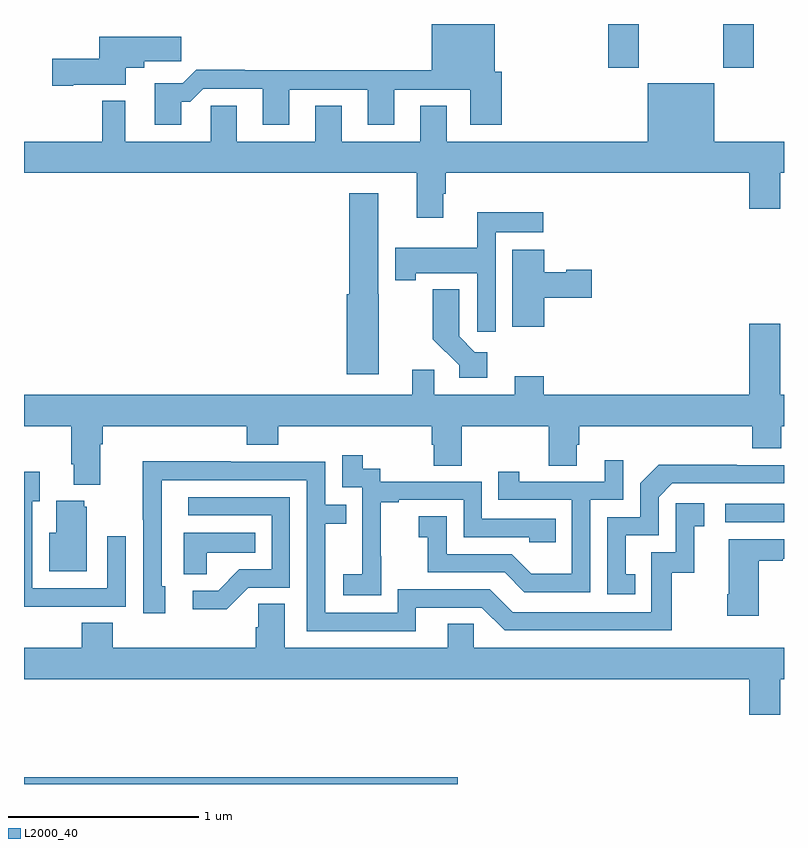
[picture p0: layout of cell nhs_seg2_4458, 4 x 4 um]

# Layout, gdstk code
import gdstk
lib = gdstk.Library(unit=1e-6, precision=1e-09)
def R(c, l, rs):  # rectangles x0, y0, x1, y1
    for r in rs: c.add(gdstk.rectangle(r[:2], r[2:], *l))
def P(c, l, *ps):  # polygons
    for p in ps: c.add(gdstk.Polygon(p, *l))
L2000_40 = (2000, 40)

nhs_seg2_4458 = lib.new_cell('nhs_seg2_4458')
R(nhs_seg2_4458, L2000_40, [(353,597.8,355.282,597.836), (356.691,599.178,357,599.274), (356.075,601.569,356.235,601.8), (356.68,601.569,356.84,601.8)])
P(nhs_seg2_4458, L2000_40, [(353.827,601.391),(353.876,601.391),(353.943,601.458),(354.257,601.458),(354.257,601.269),(354.397,601.269),(354.397,601.455),(354.809,601.455),(354.809,601.269),(354.949,601.269),(354.949,601.455),(355.349,601.455),(355.349,601.269),(355.514,601.269),(355.514,601.548),(355.477,601.548),(355.477,601.8),(355.145,601.8),(355.145,601.556),(354.161,601.556),(354.161,601.559),(353.906,601.559),(353.836,601.489),(353.687,601.489),(353.687,601.269),(353.827,601.269)],
  [(353.26,601.481),(353.536,601.481),(353.536,601.571),(353.632,601.571),(353.632,601.603),(353.827,601.603),(353.827,601.732),(353.396,601.732),(353.396,601.616),(353.148,601.616),(353.148,601.474),(353.26,601.474)],
  [(355.207,600.906),(355.22,600.906),(355.22,601.016),(356.816,601.016),(356.816,600.828),(356.98,600.828),(356.98,601.016),(357,601.016),(357,601.18),(356.632,601.18),(356.632,601.489),(356.282,601.489),(356.282,601.18),(355.225,601.18),(355.225,601.37),(355.085,601.37),(355.085,601.18),(354.673,601.18),(354.673,601.37),(354.533,601.37),(354.533,601.18),(354.121,601.18),(354.121,601.37),(353.982,601.37),(353.982,601.18),(353.533,601.18),(353.533,601.396),(353.412,601.396),(353.412,601.18),(353,601.18),(353,601.016),(355.067,601.016),(355.067,600.78),(355.207,600.78)],
  [(354.868,600.378),(354.865,600.378),(354.865,600.91),(354.713,600.91),(354.713,600.378),(354.698,600.378),(354.698,599.957),(354.868,599.957)],
  [(355.482,600.704),(355.732,600.704),(355.732,600.808),(355.385,600.808),(355.385,600.622),(354.954,600.622),(354.954,600.452),(355.063,600.452),(355.063,600.488),(355.386,600.488),(355.386,600.18),(355.482,600.18)],
  [(355.738,600.359),(355.987,600.359),(355.987,600.506),(355.854,600.506),(355.854,600.493),(355.738,600.493),(355.738,600.613),(355.571,600.613),(355.571,600.207),(355.738,600.207)],
  [(355.438,600.073),(355.373,600.073),(355.29,600.156),(355.29,600.403),(355.151,600.403),(355.151,600.142),(355.29,600.003),(355.29,599.937),(355.438,599.937)],
  [(353.401,599.588),(353.414,599.588),(353.414,599.684),(354.173,599.684),(354.173,599.585),(354.338,599.585),(354.338,599.684),(355.145,599.684),(355.145,599.586),(355.157,599.586),(355.157,599.476),(355.305,599.476),(355.305,599.684),(355.762,599.684),(355.762,599.476),(355.909,599.476),(355.909,599.586),(355.922,599.586),(355.922,599.684),(356.834,599.684),(356.834,599.567),(356.986,599.567),(356.986,599.684),(357,599.684),(357,599.848),(356.98,599.848),(356.98,600.223),(356.816,600.223),(356.816,599.848),(355.736,599.848),(355.736,599.947),(355.583,599.947),(355.583,599.848),(355.158,599.848),(355.158,599.98),(355.043,599.98),(355.043,599.848),(353,599.848),(353,599.684),(353.249,599.684),(353.249,599.482),(353.261,599.482),(353.261,599.375),(353.401,599.375)],
  [(354.879,598.999),(354.878,598.999),(354.878,599.283),(354.973,599.283),(354.973,599.295),(355.314,599.295),(355.314,599.1),(355.659,599.1),(355.659,599.073),(355.799,599.073),(355.799,599.196),(355.41,599.196),(355.41,599.391),(354.876,599.391),(354.876,599.46),(354.784,599.46),(354.784,599.53),(354.675,599.53),(354.675,599.361),(354.78,599.361),(354.78,599.132),(354.779,599.132),(354.779,598.903),(354.681,598.903),(354.681,598.793),(354.879,598.793)],
  [(355.98,599.295),(356.154,599.295),(356.154,599.503),(356.057,599.503),(356.057,599.391),(355.606,599.391),(355.606,599.443),(355.495,599.443),(355.495,599.295),(355.884,599.295),(355.884,598.906),(355.67,598.906),(355.566,599.01),(355.224,599.01),(355.224,599.209),(355.077,599.209),(355.077,599.099),(355.126,599.099),(355.126,598.914),(355.529,598.914),(355.634,598.809),(355.98,598.809)],
  [(355.063,598.728),(355.41,598.728),(355.53,598.608),(356.41,598.608),(356.41,598.911),(356.528,598.911),(356.528,599.157),(356.581,599.157),(356.581,599.278),(356.43,599.278),(356.43,599.019),(356.301,599.019),(356.301,598.704),(355.572,598.704),(355.452,598.824),(354.966,598.824),(354.966,598.701),(354.585,598.701),(354.585,599.17),(354.695,599.17),(354.695,599.271),(354.585,599.271),(354.585,599.496),(354.089,599.496),(354.089,599.498),(353.626,599.498),(353.626,599.191),(353.628,599.191),(353.628,598.698),(353.743,598.698),(353.743,598.842),(353.724,598.842),(353.724,599.4),(354.489,599.4),(354.489,598.605),(355.063,598.605)],
  [(356.216,598.905),(356.167,598.905),(356.167,599.109),(356.34,599.109),(356.34,599.31),(356.412,599.382),(357,599.382),(357,599.478),(356.75,599.478),(356.75,599.48),(356.342,599.48),(356.244,599.382),(356.244,599.205),(356.07,599.205),(356.07,598.8),(356.216,598.8)],
  [(353.219,598.734),(353.535,598.734),(353.535,599.104),(353.439,599.104),(353.439,598.83),(353.043,598.83),(353.043,599.287),(353.083,599.287),(353.083,599.443),(353,599.443),(353,598.733),(353.219,598.733)],
  [(354.18,598.833),(354.399,598.833),(354.399,599.31),(353.865,599.31),(353.865,599.214),(354.303,599.214),(354.303,598.929),(354.134,598.929),(354.023,598.818),(353.889,598.818),(353.889,598.721),(354.067,598.721)],
  [(353.329,599.259),(353.318,599.259),(353.318,599.29),(353.171,599.29),(353.171,599.122),(353.132,599.122),(353.132,598.919),(353.329,598.919)],
  [(353.961,599.018),(354.218,599.018),(354.218,599.122),(353.84,599.122),(353.84,598.903),(353.961,598.903)],
  [(356.866,598.975),(356.993,598.975),(356.993,598.985),(357,598.985),(357,599.089),(356.708,599.089),(356.708,598.798),(356.701,598.798),(356.701,598.686),(356.866,598.686)],
  [(356.98,598.352),(357,598.352),(357,598.516),(355.368,598.516),(355.368,598.643),(355.229,598.643),(355.229,598.516),(354.373,598.516),(354.373,598.748),(354.234,598.748),(354.234,598.625),(354.221,598.625),(354.221,598.516),(353.468,598.516),(353.468,598.649),(353.303,598.649),(353.303,598.516),(353,598.516),(353,598.352),(356.816,598.352),(356.816,598.164),(356.98,598.164)])

lib.write_gds('nhs_seg2_4458.gds')
